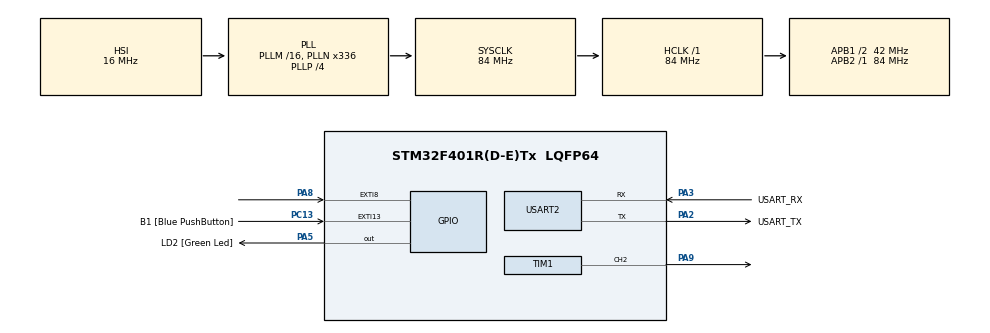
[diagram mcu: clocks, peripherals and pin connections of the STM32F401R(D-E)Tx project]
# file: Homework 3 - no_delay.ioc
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Mcu.Family=STM32F4
Mcu.Name=STM32F401R(D-E)Tx
Mcu.Package=LQFP64
NVIC.EXTI9_5_IRQn=true\:2\:0\:true\:false\:true\:true\:true\:true
NVIC.PriorityGroup=NVIC_PRIORITYGROUP_4
NVIC.TIM3_IRQn=true\:1\:0\:true\:false\:true\:true\:true\:true
PA13.GPIO_Label=TMS
PA13.Mode=Trace_Asynchronous_SW
PA13.Signal=SYS_JTMS-SWDIO
PA14.GPIO_Label=TCK
PA14.Mode=Trace_Asynchronous_SW
PA14.Signal=SYS_JTCK-SWCLK
PA2.GPIO_Label=USART_TX
PA2.GPIO_Mode=GPIO_MODE_AF_PP
PA2.GPIO_PuPd=GPIO_NOPULL
PA2.GPIO_Speed=GPIO_SPEED_FREQ_LOW
PA2.Mode=Asynchronous
PA2.Signal=USART2_TX
PA3.GPIO_Label=USART_RX
PA3.GPIO_Mode=GPIO_MODE_AF_PP
PA3.GPIO_PuPd=GPIO_NOPULL
PA3.GPIO_Speed=GPIO_SPEED_FREQ_LOW
PA3.Mode=Asynchronous
PA3.Signal=USART2_RX
PA5.GPIO_Label=LD2 [Green Led]
PA5.GPIO_Mode=GPIO_MODE_OUTPUT_PP
PA5.GPIO_PuPd=GPIO_NOPULL
PA5.GPIO_Speed=GPIO_SPEED_FREQ_LOW
PA5.Signal=GPIO_Output
PA8.Signal=GPXTI8
PA9.Signal=S_TIM1_CH2
PB3.GPIO_Label=SWO
PB3.Mode=Trace_Asynchronous_SW
PB3.Signal=SYS_JTDO-SWO
PC13-ANTI_TAMP.GPIO_Label=B1 [Blue PushButton]
PC13-ANTI_TAMP.GPIO_ModeDefaultEXTI=GPIO_MODE_IT_FALLING
PC13-ANTI_TAMP.GPIO_PuPd=GPIO_NOPULL
PC13-ANTI_TAMP.Signal=GPXTI13
PC14-OSC32_IN.Mode=LSE-External-Oscillator
PC14-OSC32_IN.Signal=RCC_OSC32_IN
PC15-OSC32_OUT.Mode=LSE-External-Oscillator
PC15-OSC32_OUT.Signal=RCC_OSC32_OUT
PH0\ -\ OSC_IN.Mode=HSE-External-Clock-Source
PH0\ -\ OSC_IN.Signal=RCC_OSC_IN
PH1\ -\ OSC_OUT.Mode=HSE-External-Clock-Source
PH1\ -\ OSC_OUT.Signal=RCC_OSC_OUT
ProjectManager.HeapSize=0x200
ProjectManager.StackSize=0x400
ProjectManager.TargetToolchain=STM32CubeIDE
RCC.48MHZClocksFreq_Value=48000000
RCC.AHBFreq_Value=84000000
RCC.APB1CLKDivider=RCC_HCLK_DIV2
RCC.APB1Freq_Value=42000000
RCC.APB1TimFreq_Value=84000000
RCC.APB2Freq_Value=84000000
RCC.APB2TimFreq_Value=84000000
RCC.CortexFreq_Value=84000000
RCC.HCLKFreq_Value=84000000
RCC.HSE_VALUE=8000000
RCC.HSI_VALUE=16000000
RCC.PLLN=336
RCC.PLLP=RCC_PLLP_DIV4
RCC.PLLQ=7
RCC.SYSCLKFreq_VALUE=84000000
RCC.SYSCLKSource=RCC_SYSCLKSOURCE_PLLCLK
RCC.VCOOutputFreq_Value=336000000
SH.S_TIM1_CH2.0=TIM1_CH2,PWM Generation2 CH2
TIM1.Channel-PWM\ Generation2\ CH2=TIM_CHANNEL_2
TIM1.Period=1908
TIM1.Prescaler=99
TIM1.Pulse-PWM\ Generation2\ CH2=954
TIM3.Period=767
TIM3.Prescaler=8399
USART2.VirtualMode=VM_ASYNC
VP_TIM3_VS_ClockSourceINT.Mode=Internal
board=NUCLEO-F401RE

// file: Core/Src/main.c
/* USER CODE BEGIN Header */
/**
  ******************************************************************************
  * @file           : main.c
  * @brief          : Main program body
  ******************************************************************************
  * @attention
  *
  * Copyright (c) 2025 STMicroelectronics.
  * All rights reserved.
  *
  * This software is licensed under terms that can be found in the LICENSE file
  * in the root directory of this software component.
  * If no LICENSE file comes with this software, it is provided AS-IS.
  *
  ******************************************************************************
  */
/* USER CODE END Header */
#include "main.h"

/* USER CODE BEGIN PTD */
struct note {
	uint16_t period;
	uint16_t duration;
};
/* USER CODE END PTD */

/* USER CODE BEGIN PD */
#define DO 3205
#define DOD 3031
#define RE 2856
#define RED 2699
#define MI 2544
#define FA 2405
#define FAD 2269
#define SOL 2141
#define SOLD 2023
#define LA 1908
#define LAD 1801
#define SI 1699

#define Tempo 75
/* USER CODE END PD */

TIM_HandleTypeDef htim1;
TIM_HandleTypeDef htim3;

UART_HandleTypeDef huart2;
uint32_t tick;
uint32_t last_tick = 0;
uint32_t delta;

struct note current_note;
uint32_t counter = 0;
uint32_t current_index = 0;
uint8_t song_playing = 0;

/* USER CODE BEGIN PV */
struct note score[] = {
		{SOL,6},
		{LA,2},
		{SOL,4},
		{FA,4},
		{MI,4},
		{FA,4},
		{SOL,8},
		{RE,4},
		{MI,4},
		{FA,8},
		{MI,4},
		{FA,4},
		{SOL,8},
		{SOL,6},
		{LA,2},
		{SOL,4},
		{FA,4},
		{MI,4},
		{FA,4},
		{SOL,8},
		{RE,8},
		{SOL,8},
		{MI,4},
		{DO,12},
};
/* USER CODE END PV */

void SystemClock_Config(void);
static void MX_GPIO_Init(void);
static void MX_USART2_UART_Init(void);
static void MX_TIM1_Init(void);
static void MX_TIM3_Init(void);

/* USER CODE BEGIN 0 */
void playnote(struct note note_playing){
	  /* USER CODE BEGIN TIM1_Init 0 */

	  /* USER CODE END TIM1_Init 0 */

	  TIM_MasterConfigTypeDef sMasterConfig = {0};
	  TIM_OC_InitTypeDef sConfigOC = {0};
	  TIM_BreakDeadTimeConfigTypeDef sBreakDeadTimeConfig = {0};

	  /* USER CODE BEGIN TIM1_Init 1 */

	  /* USER CODE END TIM1_Init 1 */
	  htim1.Instance = TIM1;
	  htim1.Init.Prescaler = 99;
	  htim1.Init.CounterMode = TIM_COUNTERMODE_UP;
	  htim1.Init.Period = note_playing.period;
	  htim1.Init.ClockDivision = TIM_CLOCKDIVISION_DIV1;
	  htim1.Init.RepetitionCounter = 0;
	  htim1.Init.AutoReloadPreload = TIM_AUTORELOAD_PRELOAD_DISABLE;
	  if (HAL_TIM_PWM_Init(&htim1) != HAL_OK)
	  {
	    Error_Handler();
	  }
	  sMasterConfig.MasterOutputTrigger = TIM_TRGO_RESET;
	  sMasterConfig.MasterSlaveMode = TIM_MASTERSLAVEMODE_DISABLE;
	  if (HAL_TIMEx_MasterConfigSynchronization(&htim1, &sMasterConfig) != HAL_OK)
	  {
	    Error_Handler();
	  }
	  sConfigOC.OCMode = TIM_OCMODE_PWM1;
	  sConfigOC.Pulse = 0.5*(note_playing.period +1) -1;
	  sConfigOC.OCPolarity = TIM_OCPOLARITY_HIGH;
	  sConfigOC.OCNPolarity = TIM_OCNPOLARITY_HIGH;
	  sConfigOC.OCFastMode = TIM_OCFAST_DISABLE;
	  sConfigOC.OCIdleState = TIM_OCIDLESTATE_RESET;
	  sConfigOC.OCNIdleState = TIM_OCNIDLESTATE_RESET;
	  if (HAL_TIM_PWM_ConfigChannel(&htim1, &sConfigOC, TIM_CHANNEL_2) != HAL_OK)
	  {
	    Error_Handler();
	  }
	  sBreakDeadTimeConfig.OffStateRunMode = TIM_OSSR_DISABLE;
	  sBreakDeadTimeConfig.OffStateIDLEMode = TIM_OSSI_DISABLE;
	  sBreakDeadTimeConfig.LockLevel = TIM_LOCKLEVEL_OFF;
	  sBreakDeadTimeConfig.DeadTime = 0;
	  sBreakDeadTimeConfig.BreakState = TIM_BREAK_DISABLE;
	  sBreakDeadTimeConfig.BreakPolarity = TIM_BREAKPOLARITY_HIGH;
	  sBreakDeadTimeConfig.AutomaticOutput = TIM_AUTOMATICOUTPUT_DISABLE;
	  if (HAL_TIMEx_ConfigBreakDeadTime(&htim1, &sBreakDeadTimeConfig) != HAL_OK)
	  {
	    Error_Handler();
	  }
	  /* USER CODE BEGIN TIM1_Init 2 */

	  /* USER CODE END TIM1_Init 2 */

	  current_note = note_playing;
	  counter = 0;
	  HAL_TIM_PWM_Start(&htim1, TIM_CHANNEL_2);
}
void playsong(){
	if (song_playing) return;
	song_playing = 1;
	current_index = 0;
	playnote(score[current_index]);
	HAL_TIM_Base_Start_IT(&htim3);
}
void HAL_GPIO_EXTI_Callback(uint16_t GPIO_Pin){
	if(GPIO_Pin==GPIO_PIN_8){
		__HAL_GPIO_EXTI_CLEAR_IT(GPIO_Pin);
		tick = HAL_GetTick();
		delta = tick - last_tick;
		if(delta>=100 && !(song_playing)){
			playsong();
		}
		last_tick = tick;
	}
}
void HAL_TIM_PeriodElapsedCallback(TIM_HandleTypeDef *htim){
	if(htim == &htim3){
		counter++;
		if (counter > current_note.duration) {
			HAL_TIM_PWM_Stop(&htim1, TIM_CHANNEL_2);
			counter = 0;
		    current_index ++;
		    if(current_index < sizeof(score)/sizeof(score[0])){
		    	playnote(score[current_index]);
		    }else {
		    	HAL_TIM_Base_Stop_IT(&htim3);
		    	song_playing = 0;
		    }
		}
	}
}
/* USER CODE END 0 */

int main(void)
{

  /* MCU Configuration--------------------------------------------------------*/

  /* Reset of all peripherals, Initializes the Flash interface and the Systick. */
  HAL_Init();

  /* Configure the system clock */
  SystemClock_Config();

  /* Initialize all configured peripherals */
  MX_GPIO_Init();
  MX_USART2_UART_Init();
  MX_TIM1_Init();
  MX_TIM3_Init();

  /* Infinite loop */
  while (1)
  {

  }
}

void SystemClock_Config(void)
{
  RCC_OscInitTypeDef RCC_OscInitStruct = {0};
  RCC_ClkInitTypeDef RCC_ClkInitStruct = {0};

  /** Configure the main internal regulator output voltage
  */
  __HAL_RCC_PWR_CLK_ENABLE();
  __HAL_PWR_VOLTAGESCALING_CONFIG(PWR_REGULATOR_VOLTAGE_SCALE2);

  /** Initializes the RCC Oscillators according to the specified parameters
  * in the RCC_OscInitTypeDef structure.
  */
  RCC_OscInitStruct.OscillatorType = RCC_OSCILLATORTYPE_HSI;
  RCC_OscInitStruct.HSIState = RCC_HSI_ON;
  RCC_OscInitStruct.HSICalibrationValue = RCC_HSICALIBRATION_DEFAULT;
  RCC_OscInitStruct.PLL.PLLState = RCC_PLL_ON;
  RCC_OscInitStruct.PLL.PLLSource = RCC_PLLSOURCE_HSI;
  RCC_OscInitStruct.PLL.PLLM = 16;
  RCC_OscInitStruct.PLL.PLLN = 336;
  RCC_OscInitStruct.PLL.PLLP = RCC_PLLP_DIV4;
  RCC_OscInitStruct.PLL.PLLQ = 7;
  if (HAL_RCC_OscConfig(&RCC_OscInitStruct) != HAL_OK)
  {
    Error_Handler();
  }

  /** Initializes the CPU, AHB and APB buses clocks
  */
  RCC_ClkInitStruct.ClockType = RCC_CLOCKTYPE_HCLK|RCC_CLOCKTYPE_SYSCLK
                              |RCC_CLOCKTYPE_PCLK1|RCC_CLOCKTYPE_PCLK2;
  RCC_ClkInitStruct.SYSCLKSource = RCC_SYSCLKSOURCE_PLLCLK;
  RCC_ClkInitStruct.AHBCLKDivider = RCC_SYSCLK_DIV1;
  RCC_ClkInitStruct.APB1CLKDivider = RCC_HCLK_DIV2;
  RCC_ClkInitStruct.APB2CLKDivider = RCC_HCLK_DIV1;

  if (HAL_RCC_ClockConfig(&RCC_ClkInitStruct, FLASH_LATENCY_2) != HAL_OK)
  {
    Error_Handler();
  }
}

static void MX_TIM1_Init(void)
{

  TIM_MasterConfigTypeDef sMasterConfig = {0};
  TIM_OC_InitTypeDef sConfigOC = {0};
  TIM_BreakDeadTimeConfigTypeDef sBreakDeadTimeConfig = {0};

  htim1.Instance = TIM1;
  htim1.Init.Prescaler = 99;
  htim1.Init.CounterMode = TIM_COUNTERMODE_UP;
  htim1.Init.Period = 1908;
  htim1.Init.ClockDivision = TIM_CLOCKDIVISION_DIV1;
  htim1.Init.RepetitionCounter = 0;
  htim1.Init.AutoReloadPreload = TIM_AUTORELOAD_PRELOAD_DISABLE;
  if (HAL_TIM_PWM_Init(&htim1) != HAL_OK)
  {
    Error_Handler();
  }
  sMasterConfig.MasterOutputTrigger = TIM_TRGO_RESET;
  sMasterConfig.MasterSlaveMode = TIM_MASTERSLAVEMODE_DISABLE;
  if (HAL_TIMEx_MasterConfigSynchronization(&htim1, &sMasterConfig) != HAL_OK)
  {
    Error_Handler();
  }
  sConfigOC.OCMode = TIM_OCMODE_PWM1;
  sConfigOC.Pulse = 954;
  sConfigOC.OCPolarity = TIM_OCPOLARITY_HIGH;
  sConfigOC.OCNPolarity = TIM_OCNPOLARITY_HIGH;
  sConfigOC.OCFastMode = TIM_OCFAST_DISABLE;
  sConfigOC.OCIdleState = TIM_OCIDLESTATE_RESET;
  sConfigOC.OCNIdleState = TIM_OCNIDLESTATE_RESET;
  if (HAL_TIM_PWM_ConfigChannel(&htim1, &sConfigOC, TIM_CHANNEL_2) != HAL_OK)
  {
    Error_Handler();
  }
  sBreakDeadTimeConfig.OffStateRunMode = TIM_OSSR_DISABLE;
  sBreakDeadTimeConfig.OffStateIDLEMode = TIM_OSSI_DISABLE;
  sBreakDeadTimeConfig.LockLevel = TIM_LOCKLEVEL_OFF;
  sBreakDeadTimeConfig.DeadTime = 0;
  sBreakDeadTimeConfig.BreakState = TIM_BREAK_DISABLE;
  sBreakDeadTimeConfig.BreakPolarity = TIM_BREAKPOLARITY_HIGH;
  sBreakDeadTimeConfig.AutomaticOutput = TIM_AUTOMATICOUTPUT_DISABLE;
  if (HAL_TIMEx_ConfigBreakDeadTime(&htim1, &sBreakDeadTimeConfig) != HAL_OK)
  {
    Error_Handler();
  }
  HAL_TIM_MspPostInit(&htim1);

}

static void MX_TIM3_Init(void)
{

  TIM_ClockConfigTypeDef sClockSourceConfig = {0};
  TIM_MasterConfigTypeDef sMasterConfig = {0};

  htim3.Instance = TIM3;
  htim3.Init.Prescaler = 8399;
  htim3.Init.CounterMode = TIM_COUNTERMODE_UP;
  htim3.Init.Period = 767;
  htim3.Init.ClockDivision = TIM_CLOCKDIVISION_DIV1;
  htim3.Init.AutoReloadPreload = TIM_AUTORELOAD_PRELOAD_DISABLE;
  if (HAL_TIM_Base_Init(&htim3) != HAL_OK)
  {
    Error_Handler();
  }
  sClockSourceConfig.ClockSource = TIM_CLOCKSOURCE_INTERNAL;
  if (HAL_TIM_ConfigClockSource(&htim3, &sClockSourceConfig) != HAL_OK)
  {
    Error_Handler();
  }
  sMasterConfig.MasterOutputTrigger = TIM_TRGO_RESET;
  sMasterConfig.MasterSlaveMode = TIM_MASTERSLAVEMODE_DISABLE;
  if (HAL_TIMEx_MasterConfigSynchronization(&htim3, &sMasterConfig) != HAL_OK)
  {
    Error_Handler();
  }

}

static void MX_USART2_UART_Init(void)
{

  huart2.Instance = USART2;
  huart2.Init.BaudRate = 115200;
  huart2.Init.WordLength = UART_WORDLENGTH_8B;
  huart2.Init.StopBits = UART_STOPBITS_1;
  huart2.Init.Parity = UART_PARITY_NONE;
  huart2.Init.Mode = UART_MODE_TX_RX;
  huart2.Init.HwFlowCtl = UART_HWCONTROL_NONE;
  huart2.Init.OverSampling = UART_OVERSAMPLING_16;
  if (HAL_UART_Init(&huart2) != HAL_OK)
  {
    Error_Handler();
  }

}

static void MX_GPIO_Init(void)
{
  GPIO_InitTypeDef GPIO_InitStruct = {0};

  /* GPIO Ports Clock Enable */
  __HAL_RCC_GPIOC_CLK_ENABLE();
  __HAL_RCC_GPIOH_CLK_ENABLE();
  __HAL_RCC_GPIOA_CLK_ENABLE();
  __HAL_RCC_GPIOB_CLK_ENABLE();

  /*Configure GPIO pin Output Level */
  HAL_GPIO_WritePin(LD2_GPIO_Port, LD2_Pin, GPIO_PIN_RESET);

  /*Configure GPIO pin : B1_Pin */
  GPIO_InitStruct.Pin = B1_Pin;
  GPIO_InitStruct.Mode = GPIO_MODE_IT_FALLING;
  GPIO_InitStruct.Pull = GPIO_NOPULL;
  HAL_GPIO_Init(B1_GPIO_Port, &GPIO_InitStruct);

  /*Configure GPIO pin : LD2_Pin */
  GPIO_InitStruct.Pin = LD2_Pin;
  GPIO_InitStruct.Mode = GPIO_MODE_OUTPUT_PP;
  GPIO_InitStruct.Pull = GPIO_NOPULL;
  GPIO_InitStruct.Speed = GPIO_SPEED_FREQ_LOW;
  HAL_GPIO_Init(LD2_GPIO_Port, &GPIO_InitStruct);

  /*Configure GPIO pin : PA8 */
  GPIO_InitStruct.Pin = GPIO_PIN_8;
  GPIO_InitStruct.Mode = GPIO_MODE_IT_RISING;
  GPIO_InitStruct.Pull = GPIO_NOPULL;
  HAL_GPIO_Init(GPIOA, &GPIO_InitStruct);

  /* EXTI interrupt init*/
  HAL_NVIC_SetPriority(EXTI9_5_IRQn, 2, 0);
  HAL_NVIC_EnableIRQ(EXTI9_5_IRQn);

}

void Error_Handler(void)
{
  __disable_irq();
  while (1)
  {
  }
}
